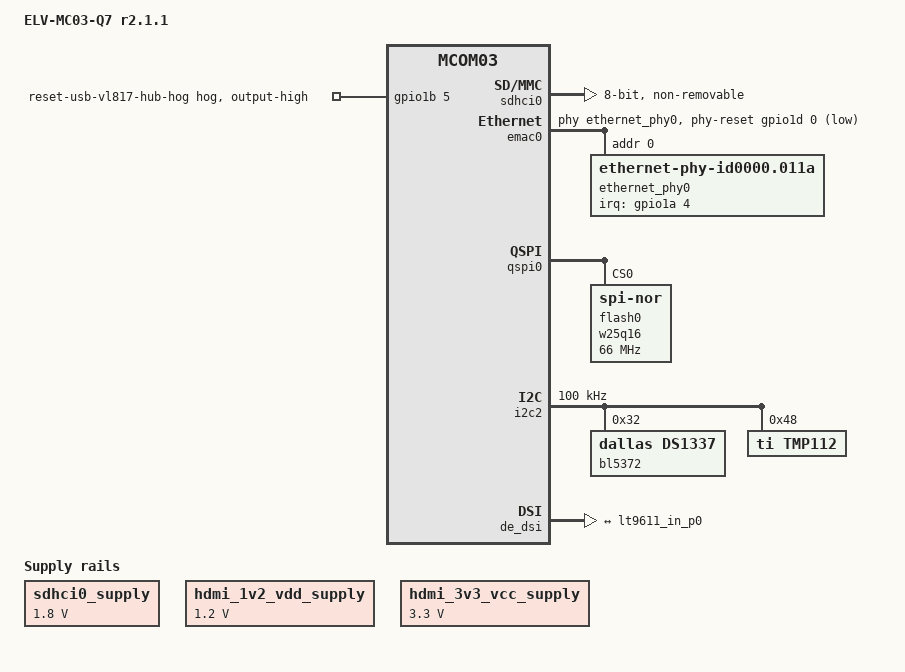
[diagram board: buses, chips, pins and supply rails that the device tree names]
// SPDX-License-Identifier: GPL-2.0+
/*
 * Copyright 2023 RnD Center "ELVEES", JSC
 */

/dts-v1/;

#include <dt-bindings/gpio/gpio.h>

#include "mcom03.dtsi"

/ {
	model = "ELV-MC03-Q7 r2.1.1";
	compatible = "elvees,elvmc03q7-r2.1.1",
		     "elvees,elvmc03q7",
		     "elvees,mcom03";

	sdhci0_supply: regulator@0 {
		compatible = "regulator-fixed";
		regulator-name = "sdhci0-supply";
		regulator-min-microvolt = <1800000>;
		regulator-max-microvolt = <1800000>;
		regulator-always-on;
	};

	hdmi_1v2_vdd_supply: regulator@01 {
		compatible = "regulator-fixed";
		regulator-name = "hdmi-vdd-1.2v";
		regulator-min-microvolt = <1200000>;
		regulator-max-microvolt = <1200000>;
		regulator-always-on;
	};

	hdmi_3v3_vcc_supply: regulator@02 {
		compatible = "regulator-fixed";
		regulator-name = "hdmi-vcc-3.3v";
		regulator-min-microvolt = <3300000>;
		regulator-max-microvolt = <3300000>;
		regulator-always-on;
	};
};

&gpio0a {
	gpio-line-names = "", "", "UART3_CTS", "",
		"HDMI_nRST", "RTC_INT", "INT_LVDS", "UART3_RTS";
};

&gpio0b {
	gpio-line-names = "UART3_RX", "UART3_TX", "nUSER_LED1", "nUSER_LED2",
		"", "GBE_LINK", "EN_SDR", "SDR_h1v8-l1v5";
};

&gpio0c {
	gpio-line-names = "CAM0_IO-1", "LVDS_VDD_EN", "CAM0_IO-0", "GPII1",
		"GPO0", "GPII0", "LVDS_nRST", "THRMTRIP#";
};

&gpio0d {
	gpio-line-names = "FAN_PWMOUT", "BATLOW#", "THRM#", "I2C0_SCL",
		"I2C0_SDA", "I2C0_SMBALERT", "SUS_S3#", "SUS_S5#";
};

&gpio1a {
	gpio-line-names = "I2C_CK", "I2C_DAT", "I2C2_SCL", "I2C2_SDA",
		"GPIO0", "GPIO1", "WAKE1#", "PCIE_WAKE#";
};

&gpio1b {
	gpio-line-names = "I2S_CLK", "I2S_WS", "I2S_SDO", "I2S_RST#",
		"I2S_SDI", "USB_HUB_RST#", "GPIO2", "GPIO3";

	reset-usb-vl817-hub-hog {
		gpio-hog;
		gpios = <5 GPIO_ACTIVE_HIGH>;
		output-high;
	};
};

&gpio1c {
	gpio-line-names = "GPIO5", "GPIO6", "GPIO7", "INT_ETH",
		"LVDS_BLEN", "PCIE_RST#", "GPIO4", "SATA_PERST";
};

&gpio1d {
	gpio-line-names = "nRST_ETH", "INT_HDMI", "LVDS_BLT_CTRL", "SPKR",
		"FAN_TACHOIN", "nLED-R", "nLED-G", "nLED-B";
};

/* Connected to eMMC */
&sdhci0 {
	status = "okay";

	non-removable;
	bus-width = <8>;

	vqmmc-supply = <&sdhci0_supply>;
};

&emac0 {
	phy-handle = <&ethernet_phy0>;
	phy-reset-gpios = <&gpio1d 0 GPIO_ACTIVE_LOW>;

	ethernet_phy0: ethernet-phy@0 {
		compatible = "ethernet-phy-id0000.011a", "ethernet-phy-ieee802.3-c22";
		reg = <0x0>;
		interrupts-extended = <&gpio1a 4 IRQ_TYPE_LEVEL_LOW>;

		rx-internal-delay-ps = <1800>;
		tx-internal-delay-ps = <1200>;
	};
};

&qspi0 {
	status = "okay";

	flash0: w25q16@0 {
		#address-cells = <1>;
		#size-cells = <1>;
		compatible = "jedec,spi-nor", "spi-flash";
		reg = <0x0>;
		/* This is the highest frequency at which all commands are
		 * supported by the flash device.
		 */
		spi-max-frequency = <66000000>;
		m25p,fast-read;
	};
};

&i2c2 {
	/* Not all devices are checked to 400kHz support */
	clock-frequency = <100000>;
	status = "okay";

	bl5372: rtc@32 {
		compatible = "dallas,ds1337";
		reg = <0x32>;
	};

	tmp112: temperature-sensor@48 {
		compatible = "ti,tmp112";
		reg = <0x48>;
	};

	lt9611uxc: hdmi-bridge@2b {
		status = "disabled";

		lontium,dsi-mode-video-burst;
		lontium,dsi-clock-non-continuous;

		compatible = "lontium,lt9611uxc";
		reg = <0x2b>;

		vdd-supply = <&hdmi_1v2_vdd_supply>;
		vcc-supply = <&hdmi_3v3_vcc_supply>;
		#sound-dai-cells = <0>;

		reset-gpios = <&gpio0a 4 GPIO_ACTIVE_HIGH>;
		interrupts-extended = <&gpio1a 5 IRQ_TYPE_LEVEL_LOW>;

		ports {
			#address-cells = <1>;
			#size-cells = <0>;

			port@0 {
				reg = <0>;
				lt9611_in_p0: endpoint {
					remote-endpoint = <&dsi_out>;
				};
			};
		};
	};
};

&de_dsi {
	dsi-min-clock-frequency = <275000000>;

	ports {
		port@1 {
			reg = <1>;
			dsi_out: endpoint {
				remote-endpoint = <&lt9611_in_p0>;
			};
		};
	};
};

/* PCIe0 is connected to SATA controller. */
sata: &pcie0 { };
